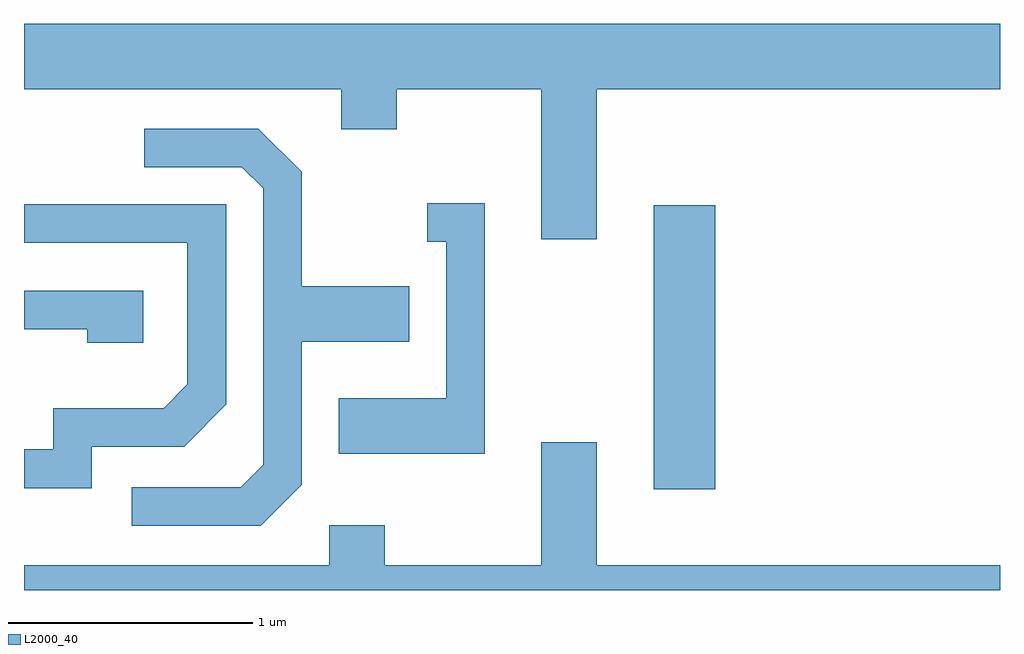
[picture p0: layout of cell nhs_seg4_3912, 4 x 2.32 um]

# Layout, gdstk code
import gdstk
lib = gdstk.Library(unit=1e-6, precision=1e-09)
def R(c, l, rs):  # rectangles x0, y0, x1, y1
    for r in rs: c.add(gdstk.rectangle(r[:2], r[2:], *l))
def P(c, l, *ps):  # polygons
    for p in ps: c.add(gdstk.Polygon(p, *l))
L2000_40 = (2000, 40)

nhs_seg4_3912 = lib.new_cell('nhs_seg4_3912')
R(nhs_seg4_3912, L2000_40, [(302.191,1326.396,302.444,1327.559)])
P(nhs_seg4_3912, L2000_40, [(301.959,1328.036),(303.611,1328.036),(303.611,1328.304),(299.611,1328.304),(299.611,1328.036),(300.911,1328.036),(300.911,1327.871),(301.139,1327.871),(301.139,1328.036),(301.731,1328.036),(301.731,1327.421),(301.959,1327.421)],
  [(300.749,1326.414),(300.749,1327.001),(301.189,1327.001),(301.189,1327.229),(300.749,1327.229),(300.749,1327.697),(300.572,1327.874),(300.103,1327.874),(300.103,1327.716),(300.504,1327.716),(300.591,1327.629),(300.591,1326.497),(300.499,1326.404),(300.053,1326.404),(300.053,1326.246),(300.582,1326.246)],
  [(301.499,1327.569),(301.263,1327.569),(301.263,1327.411),(301.341,1327.411),(301.341,1326.769),(300.901,1326.769),(300.901,1326.541),(301.499,1326.541)],
  [(299.889,1326.571),(300.267,1326.571),(300.439,1326.744),(300.439,1327.564),(299.611,1327.564),(299.611,1327.406),(300.281,1327.406),(300.281,1326.827),(300.184,1326.729),(299.731,1326.729),(299.731,1326.559),(299.611,1326.559),(299.611,1326.401),(299.889,1326.401)],
  [(300.099,1327.209),(299.611,1327.209),(299.611,1327.051),(299.871,1327.051),(299.871,1326.996),(300.099,1326.996)],
  [(303.611,1326.084),(301.959,1326.084),(301.959,1326.589),(301.731,1326.589),(301.731,1326.084),(301.089,1326.084),(301.089,1326.249),(300.861,1326.249),(300.861,1326.084),(299.611,1326.084),(299.611,1325.982),(303.611,1325.982)])

lib.write_gds('nhs_seg4_3912.gds')
